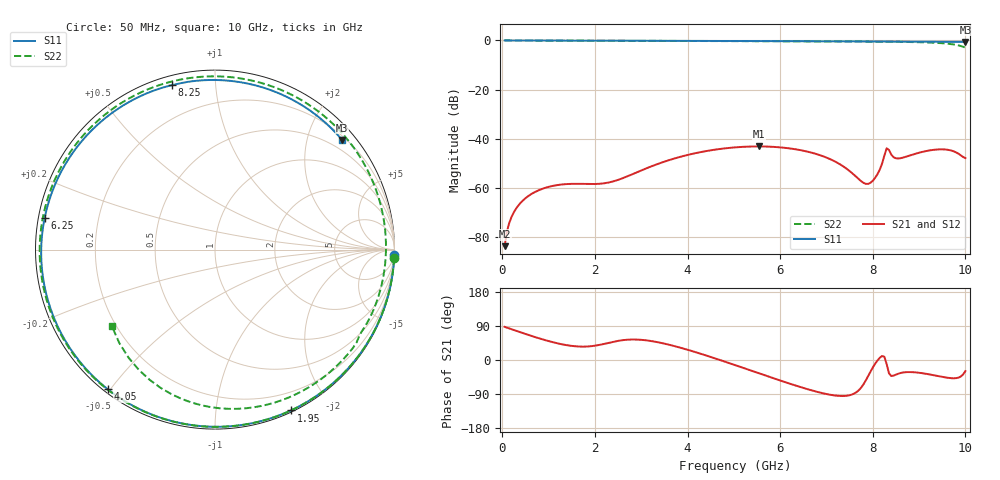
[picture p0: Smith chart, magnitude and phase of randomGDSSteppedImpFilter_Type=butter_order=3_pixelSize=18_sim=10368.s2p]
! freq	dB(S11)	phase(S11)	dB(S12)	phase(S12)
!  dB(S21)	phase(S21)	dB(S22)	phase(S22)
!S-par simulation data
#  GHz  S  DB  R 50
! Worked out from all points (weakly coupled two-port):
!   200 points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, 50 MHz to 10 GHz, reference 50 ohm
!   highest |S21| = -43.10 dB at 5.55 GHz (marker M1); lowest = -83.7 dB at 50 MHz (marker M2)
!   lowest |S11| = -0.6 dB at 10 GHz (marker M3), VSWR 29.90, Z = 13.7 + j133 ohm
!   |S11| at or under -10 dB: nowhere
!   |S22| runs from -2.9 to 0.0 dB; largest |S21 - S12| = 0
!   S11 on the Smith chart (normalised r, x): 50 MHz: 1, -66; 1.95 GHz: 0.02, -1.58; 4.05 GHz: 0.01, -0.49; 6.25 GHz: 0.02, +0.09; 8.25 GHz: 0.04, +0.77; 10 GHz: 0.27, +2.67
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0.05  -0.01 -1.7  -83.67 87.5  -83.67 87.5  -0.01 -2.7
0.25  -0.01 -8.6  -69.86 79.1  -69.86 79.1  -0.02 -13.4
0.6  -0.02 -20.5  -62.80 64.7  -62.80 64.7  -0.04 -31.9
1.2  -0.05 -40.5  -58.78 43.8  -58.78 43.8  -0.08 -62.7
1.75  -0.07 -58.4  -58.35 35.3  -58.35 35.3  -0.11 -89.8
1.95  -0.08 -64.8  -58.40 36.9  -58.40 36.9  -0.12 -99.3
2.75  -0.11 -89.5  -54.87 53.9  -54.87 53.9  -0.15 -136.2
3.4  -0.14 -108.7  -49.94 45.9  -49.94 45.9  -0.19 -165.2
4.05  -0.17 -127.5  -46.35 25.3  -46.35 25.3  -0.22 165.8
5.05  -0.22 -155.9  -43.45 -14.4  -43.45 -14.4  -0.27 120.1
5.55  -0.26 -170.1  -43.10 -35.4  -43.10 -35.4  -0.30 96.4
6.25  -0.31 169.4  -44.02 -64.1  -44.02 -64.1  -0.33 62.9
6.7  -0.34 155.7  -45.75 -80.8  -45.75 -80.8  -0.36 41.4
7.3  -0.39 136.8  -50.46 -95.0  -50.46 -95.0  -0.39 13.3
7.85  -0.43 118.5  -58.32 -53.7  -58.32 -53.7  -0.45 -11.6
8.05  -0.45 111.7  -55.91 -10.0  -55.91 -10.0  -0.49 -20.5
8.25  -0.47 104.7  -46.85 8.5  -46.85 8.5  -0.57 -29.1
8.35  -0.48 101.3  -44.54 -35.2  -44.54 -35.2  -0.51 -33.1
8.55  -0.48 94.1  -48.01 -36.2  -48.01 -36.2  -0.55 -42.4
9.4  -0.54 63.0  -44.33 -42.1  -44.33 -42.1  -1.01 -85.1
9.75  -0.56 50.0  -45.12 -48.3  -45.12 -48.3  -1.65 -111.6
10  -0.58 40.7  -47.86 -29.2  -47.86 -29.2  -2.92 -143.7
